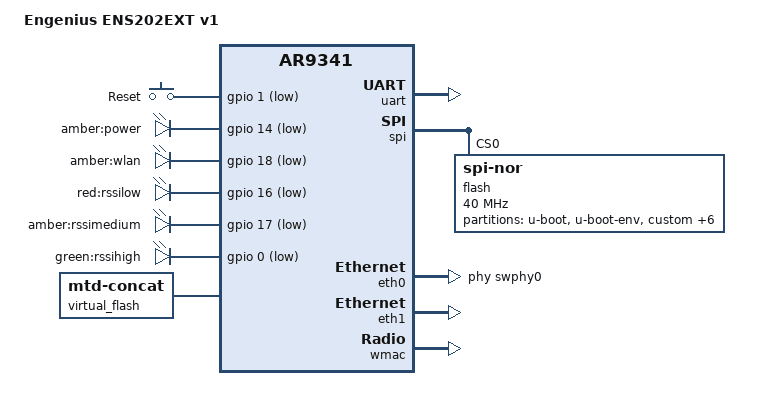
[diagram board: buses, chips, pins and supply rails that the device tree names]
// SPDX-License-Identifier: GPL-2.0-or-later OR MIT

#include "ar9341.dtsi"

#include <dt-bindings/gpio/gpio.h>
#include <dt-bindings/input/input.h>
#include <dt-bindings/mtd/partitions/uimage.h>

/ {
	model = "Engenius ENS202EXT v1";
	compatible = "engenius,ens202ext-v1", "qca,ar9341";

	aliases {
		serial0 = &uart;
		led-boot = &led_power;
		led-failsafe = &led_power;
		led-running = &led_power;
		led-upgrade = &led_power;
	};

	keys {
		compatible = "gpio-keys";

		reset {
			label = "Reset";
			linux,code = <KEY_RESTART>;
			gpios = <&gpio 1 GPIO_ACTIVE_LOW>;
			debounce-interval = <60>;
		};
	};

	leds {
		compatible = "gpio-leds";

		led_power: power {
			label = "amber:power";
			gpios = <&gpio 14 GPIO_ACTIVE_LOW>;
			default-state = "on";
		};

		wlan {
			label = "amber:wlan";
			gpios = <&gpio 18 GPIO_ACTIVE_LOW>;
			linux,default-trigger = "phy0tpt";
		};

		rssilow {
			label = "red:rssilow";
			gpios = <&gpio 16 GPIO_ACTIVE_LOW>;
		};

		rssimedium {
			label = "amber:rssimedium";
			gpios = <&gpio 17 GPIO_ACTIVE_LOW>;
		};

		rssihigh {
			label = "green:rssihigh";
			gpios = <&gpio 0 GPIO_ACTIVE_LOW>;
		};
	};

	virtual_flash {
		compatible = "mtd-concat";

		devices = <&fwconcat0 &fwconcat1>;

		partitions {
			compatible = "fixed-partitions";
			#address-cells = <1>;
			#size-cells = <1>;

			partition@0 {
				compatible = "openwrt,uimage", "denx,uimage";
				openwrt,ih-magic = <IH_MAGIC_OKLI>;
				label = "firmware";
				reg = <0x0 0x0>;
			};
		};
	};
};

&ref {
	clock-frequency = <40000000>;
};

&uart {
	status = "okay";
};

&spi {
	status = "okay";

	flash@0 {
		compatible = "jedec,spi-nor";
		reg = <0>;
		spi-max-frequency = <40000000>;

		partitions {
			compatible = "fixed-partitions";
			#address-cells = <1>;
			#size-cells = <1>;

			partition@0 {
				label = "u-boot";
				reg = <0x000000 0x040000>;
				read-only;
			};

			partition@40000 {
				label = "u-boot-env";
				reg = <0x040000 0x010000>;
			};

			partition@50000 {
				label = "custom";
				reg = <0x050000 0x050000>;
				read-only;
			};

			partition@a0000 {
				label = "loader";
				reg = <0x0a0000 0x010000>;
				read-only;
			};

			fwconcat1: partition@b0000 {
				label = "fwconcat1";
				reg = <0x0b0000 0x170000>;
			};

			partition@220000 {
				label = "fakeroot";
				reg = <0x220000 0x010000>;
				read-only;
			};

			fwconcat0: partition@230000 {
				label = "fwconcat0";
				reg = <0x230000 0xbc0000>;
			};

			partition@df0000 {
				label = "failsafe";
				reg = <0xdf0000 0x200000>;
				read-only;
			};

			art: partition@ff0000 {
				label = "art";
				reg = <0xff0000 0x010000>;
				read-only;
			};
		};
	};
};

&eth0 {
	status = "okay";

	phy-handle = <&swphy0>;

	mtd-mac-address = <&art 0x0>;
};

&eth1 {
	status = "okay";

	mtd-mac-address = <&art 0x0>;

	gmac-config {
		device = <&gmac>;
		switch-phy-swap = <1>;
	};
};

&wmac {
	status = "okay";

	mtd-cal-data = <&art 0x1000>;
};
